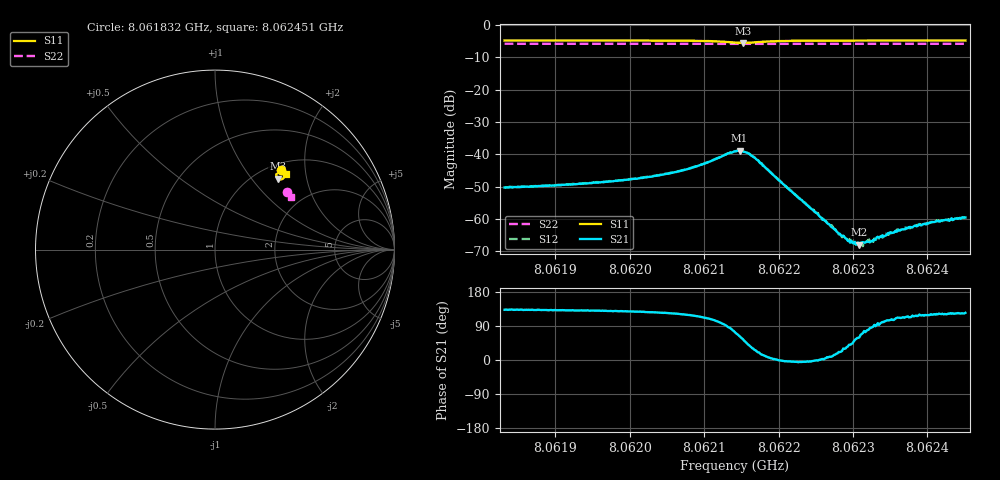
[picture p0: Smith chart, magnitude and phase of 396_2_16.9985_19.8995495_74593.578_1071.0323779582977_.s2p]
#  HZ  S  RI  R  50.00
! Rohde & Schwarz Vector Network Analyzer
! Rohde-Schwarz,ZNB20-2Port,1311601062101988,3.16
! Created: UTC 3/20/2024, 11:09:51 PM
! freq[Hz]  re:S11  im:S11  re:S21  im:S21  re:S12  im:S12  re:S22  im:S22
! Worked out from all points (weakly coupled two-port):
!   401 points, 8.061832 GHz to 8.062451 GHz, reference 50 ohm
!   highest |S21| = -38.84 dB at 8.0621476 GHz (marker M1); lowest = -68.0 dB at 8.0623086 GHz (marker M2)
!   lowest |S11| = -5.6 dB at 8.0621523 GHz (marker M3), VSWR 3.23, Z = 62.2 + j68.2 ohm
!   |S11| at or under -10 dB: nowhere
!   |S22| runs from -5.9 to -5.8 dB; largest |S21 - S12| = 0.00095
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8.06183195e9  0.3663 0.4446  -0.00208 0.00225  -0.00194 0.00239  0.3989 0.3216
8.06193563e9  0.3735 0.4382  -0.0023 0.00265  -0.0021 0.00282  0.4027 0.3166
8.06199135e9  0.3778 0.4338  -0.00248 0.00311  -0.0023 0.00328  0.4047 0.3136
8.06203932e9  0.3819 0.4283  -0.00272 0.00387  -0.00249 0.00403  0.4065 0.3111
8.06208265e9  0.3858 0.4196  -0.00287 0.00539  -0.00257 0.00561  0.4081 0.3085
8.06214146e9  0.3651 0.3903  0.00325 0.0106  0.00372 0.0105  0.4087 0.3047
8.06214765e9  0.3559 0.3918  0.00523 0.0102  0.00579 0.00977  0.4085 0.3046
8.06215229e9  0.3493 0.3956  0.00636 0.00892  0.00728 0.00867  0.4084 0.3047
8.06216003e9  0.3425 0.4056  0.00785 0.0065  0.00841 0.00608  0.4086 0.3049
8.06217086e9  0.3424 0.4201  0.00761 0.00309  0.00793 0.00279  0.4093 0.3051
8.06224514e9  0.3727 0.4344  0.0014 -6.68e-05  0.00143 -0.000127  0.4133 0.3016
8.06227299e9  0.3774 0.4326  0.000715 0.000136  0.000739 9.63e-05  0.4144 0.3002
8.06228228e9  0.3786 0.432  0.00055 0.000211  0.000547 0.000178  0.4147 0.2997
8.06229621e9  0.3803 0.4308  0.000328 0.000276  0.000403 0.000285  0.4153 0.299
8.06230859e9  0.3816 0.4302  0.0002 0.000345  0.000215 0.000348  0.4157 0.2984
8.06231168e9  0.3819 0.4299  0.000156 0.000401  0.000177 0.000393  0.4159 0.298
8.06231787e9  0.3826 0.4295  0.000106 0.00043  0.000139 0.000416  0.4159 0.2979
8.06232561e9  0.3833 0.4291  2.78e-05 0.000452  7.16e-05 0.000482  0.4163 0.2974
8.06233025e9  0.3837 0.4288  7.19e-06 0.000481  2.69e-06 0.000474  0.4165 0.2972
8.06234882e9  0.3855 0.4276  -0.000152 0.000581  -0.00015 0.000561  0.4173 0.296
8.06238596e9  0.3884 0.4253  -0.000335 0.000694  -0.000313 0.000745  0.4184 0.2942
8.06245096e9  0.3929 0.4216  -0.000597 0.000867  -0.00052 0.00092  0.4207 0.2909
